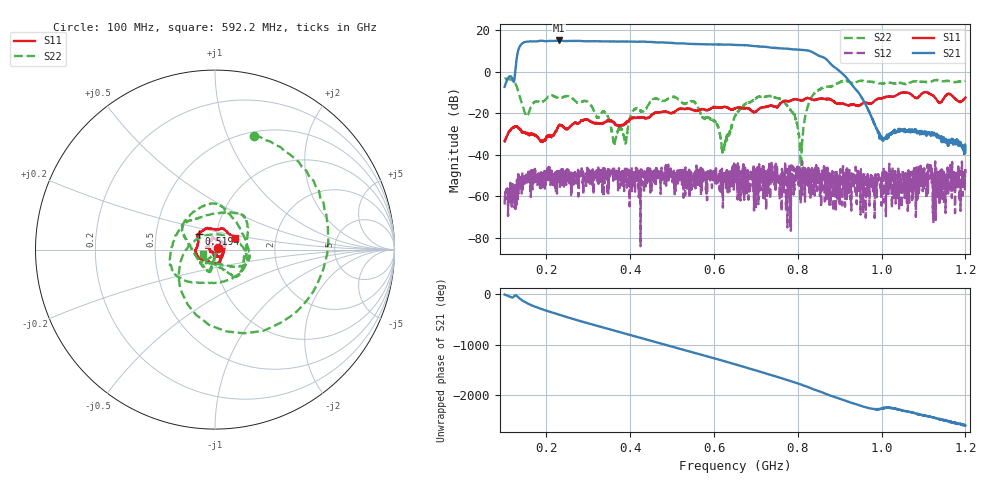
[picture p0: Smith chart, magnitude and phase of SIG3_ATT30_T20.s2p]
# Hz S DB R 50
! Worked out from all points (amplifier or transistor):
!   1601 points, 100 MHz to 1.2 GHz, reference 50 ohm
!   highest |S21| = 15.0 dB at 229.2 MHz (marker M1)
!   |S21| within 3 dB of that: 135.9 MHz to 712.5 MHz (576.6 MHz wide, 136 % of centre)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
!   unconditionally stable (mu >= 1): start of sweep to end of sweep
!   at 282.9 MHz: K = 25.73, MAG = 14.9 dB, |S12| = -49.3 dB
!   at 650 MHz: K = 35.06, MAG = 13.0 dB, |S12| = -50.0 dB
!   at 1.2 GHz: K = 7187.90, MAG = -36.7 dB, |S12| = -48.7 dB
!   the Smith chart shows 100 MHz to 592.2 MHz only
!   S11 on the Smith chart (normalised r, x): 100 MHz: 1.04, +0.02; 519.4 MHz: 0.82, +0.15; 592.2 MHz: 1.24, +0.17
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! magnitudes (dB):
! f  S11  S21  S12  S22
! 100 MHz  -33.5  -7.3  -64.1  -3.5
! 124.1 MHz  -26.4  -2.7  -65.8  -5.2
! 135.1 MHz  -27.2  11.7  -51.4  -11.3
! 152.2 MHz  -29.9  14.4  -52.3  -21.6
! 229.2 MHz  -26.0  15.0  -50.2  -12.8
! 283.6 MHz  -23.7  14.7  -50.2  -14.5
! 342 MHz  -24.3  14.6  -48.1  -19.9
! 361.9 MHz  -24.9  14.5  -49.8  -33.9
! 408.7 MHz  -22.3  14.4  -51.2  -18.4
! 467.1 MHz  -19.8  14.1  -47.0  -13.4
! 519.4 MHz  -18.0  13.6  -53.2  -14.3
! 592.2 MHz  -17.7  13.1  -50.8  -23.2
! 622.5 MHz  -17.1  13.0  -49.1  -38.2
! 650 MHz  -17.9  12.9  -50.0  -21.4
! 759.3 MHz  -15.1  11.2  -48.7  -13.3
! 792.3 MHz  -13.2  10.7  -54.8  -20.5
! 806.8 MHz  -14.0  10.5  -63.5  -44.8
! 833.6 MHz  -13.5  9.5  -46.5  -12.1
! 914.7 MHz  -15.9  -2.6  -55.9  -4.4
! 997.9 MHz  -12.9  -32.1  -53.6  -5.7
! 1.017 GHz  -12.0  -31.7  -47.8  -5.3
! 1.2 GHz  -12.5  -38.9  -48.7  -4.3
